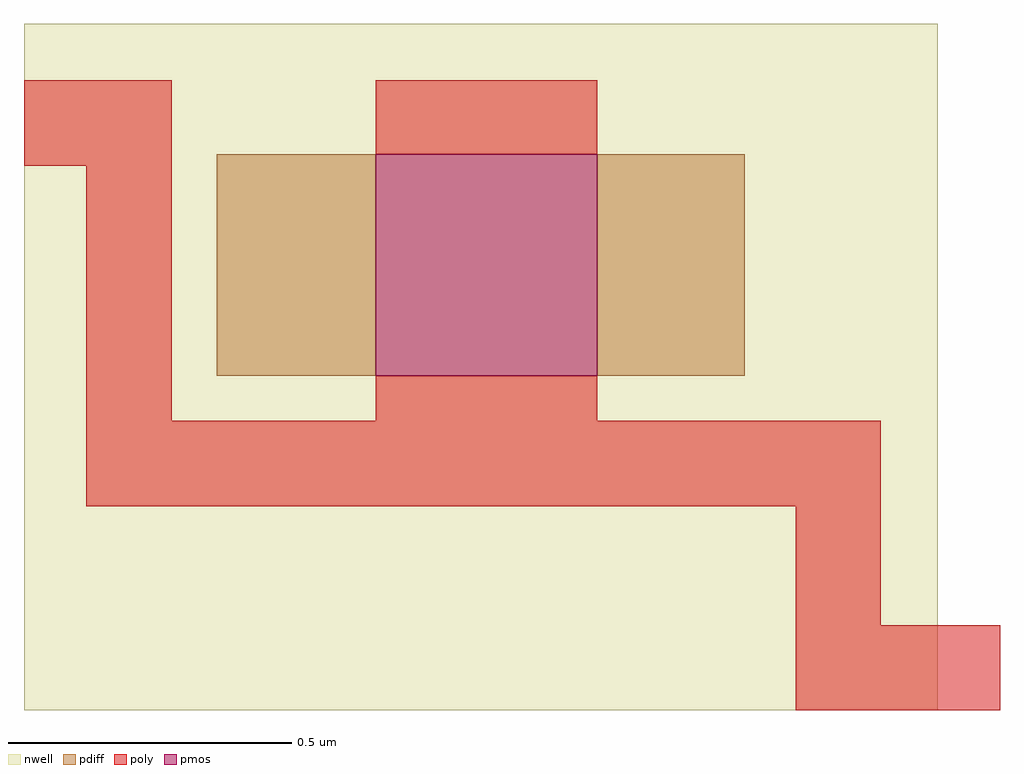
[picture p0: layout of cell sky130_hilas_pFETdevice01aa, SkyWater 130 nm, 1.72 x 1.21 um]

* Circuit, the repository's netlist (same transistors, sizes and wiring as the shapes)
* NGSPICE file created from /home/bjmuld/work/hilas/fastlane/PDKs/sky130A_hilas/libs.ref/sky130_hilas_sc/mag/sky130_hilas_pFETdevice01aa.ext - technology: sky130A


* Top level circuit /home/bjmuld/work/hilas/fastlane/PDKs/sky130A_hilas/libs.ref/sky130_hilas_sc/mag/sky130_hilas_pFETdevice01aa

X0 a_42_n38# a_n160_36# a_n92_n38# w_n160_n156# sky130_fd_pr__pfet_01v8 w=390000u l=390000u
.end

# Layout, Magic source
magic
tech sky130A
<< nwell >>
rect 0 0 161 121
<< pmos >>
rect 62 59 101 98
<< pdiff >>
rect 34 59 62 98
rect 101 59 127 98
<< poly >>
rect 0 96 26 111
rect 62 98 101 111
rect 11 51 26 96
rect 62 51 101 59
rect 11 36 151 51
rect 136 15 151 36
rect 136 0 172 15
<< properties >>
string LEFsite unithd
string LEFclass CORE
string LEFsymmetry X Y R90
<< end >>
